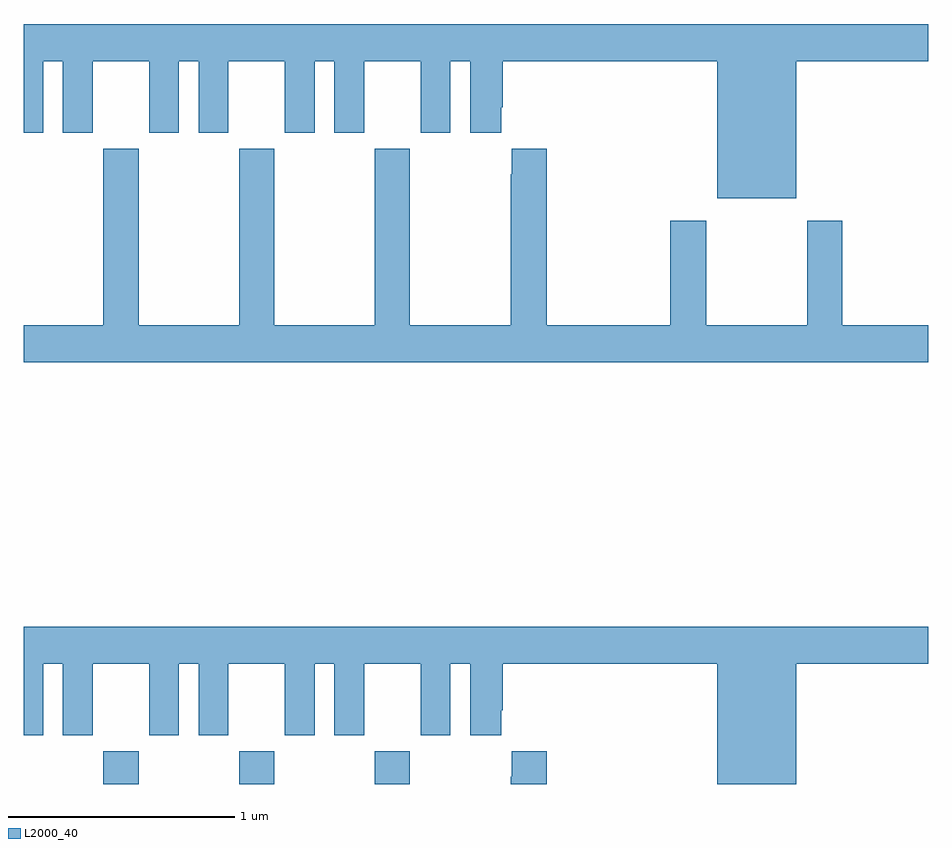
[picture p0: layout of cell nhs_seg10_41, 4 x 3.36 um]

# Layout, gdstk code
import gdstk
lib = gdstk.Library(unit=1e-6, precision=1e-09)
def R(c, l, rs):  # rectangles x0, y0, x1, y1
    for r in rs: c.add(gdstk.rectangle(r[:2], r[2:], *l))
def A(c, l, x, y, w, h, nx, ny, dx, dy):  # array of equal rectangles
    R(c, l, [(x+i*dx, y+j*dy, x+i*dx+w, y+j*dy+h) for i in range(nx) for j in range(ny)])
def P(c, l, *ps):  # polygons
    for p in ps: c.add(gdstk.Polygon(p, *l))
L2000_40 = (2000, 40)

nhs_seg10_41 = lib.new_cell('nhs_seg10_41')
A(nhs_seg10_41, L2000_40, 113.353, 1250.5, 0.155, 0.144, 3, 1, 0.6, 0)
P(nhs_seg10_41, L2000_40, [(116.416,1253.696),(117,1253.696),(117,1253.86),(113,1253.86),(113,1253.379),(113.086,1253.379),(113.086,1253.696),(113.174,1253.696),(113.174,1253.379),(113.305,1253.379),(113.305,1253.696),(113.555,1253.696),(113.555,1253.379),(113.686,1253.379),(113.686,1253.696),(113.774,1253.696),(113.774,1253.379),(113.905,1253.379),(113.905,1253.696),(114.155,1253.696),(114.155,1253.379),(114.286,1253.379),(114.286,1253.696),(114.374,1253.696),(114.374,1253.379),(114.505,1253.379),(114.505,1253.696),(114.755,1253.696),(114.755,1253.379),(114.886,1253.379),(114.886,1253.696),(114.974,1253.696),(114.974,1253.379),(115.111,1253.379),(115.111,1253.491),(115.118,1253.491),(115.118,1253.696),(116.066,1253.696),(116.066,1253.09),(116.416,1253.09)],
  [(117,1252.528),(116.619,1252.528),(116.619,1252.99),(116.464,1252.99),(116.464,1252.528),(116.019,1252.528),(116.019,1252.99),(115.859,1252.99),(115.859,1252.528),(115.313,1252.528),(115.313,1253.308),(115.157,1253.308),(115.157,1253.195),(115.153,1253.195),(115.153,1252.528),(114.708,1252.528),(114.708,1253.308),(114.553,1253.308),(114.553,1252.528),(114.108,1252.528),(114.108,1253.308),(113.953,1253.308),(113.953,1252.528),(113.508,1252.528),(113.508,1253.308),(113.353,1253.308),(113.353,1252.528),(113,1252.528),(113,1252.364),(117,1252.364)],
  [(116.416,1251.032),(117,1251.032),(117,1251.196),(113,1251.196),(113,1250.715),(113.086,1250.715),(113.086,1251.032),(113.174,1251.032),(113.174,1250.715),(113.305,1250.715),(113.305,1251.032),(113.555,1251.032),(113.555,1250.715),(113.686,1250.715),(113.686,1251.032),(113.774,1251.032),(113.774,1250.715),(113.905,1250.715),(113.905,1251.032),(114.155,1251.032),(114.155,1250.715),(114.286,1250.715),(114.286,1251.032),(114.374,1251.032),(114.374,1250.715),(114.505,1250.715),(114.505,1251.032),(114.755,1251.032),(114.755,1250.715),(114.886,1250.715),(114.886,1251.032),(114.974,1251.032),(114.974,1250.715),(115.111,1250.715),(115.111,1250.827),(115.118,1250.827),(115.118,1251.032),(116.066,1251.032),(116.066,1250.5),(116.416,1250.5)],
  [(115.313,1250.644),(115.157,1250.644),(115.157,1250.531),(115.153,1250.531),(115.153,1250.5),(115.313,1250.5)])

lib.write_gds('nhs_seg10_41.gds')
